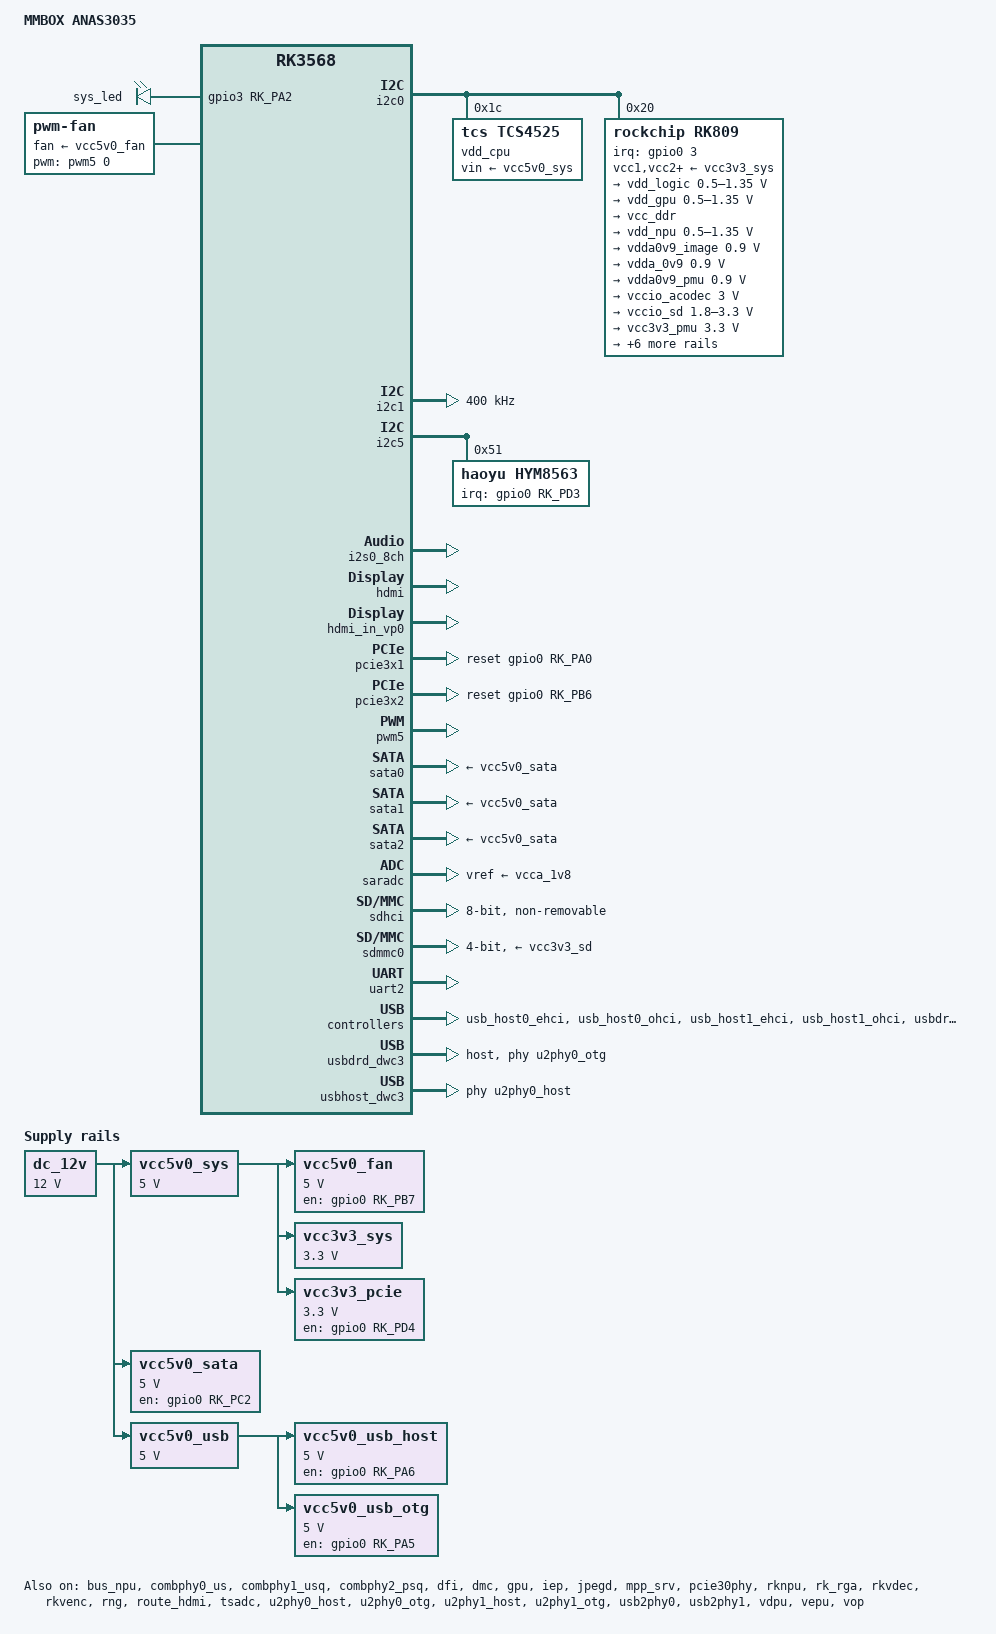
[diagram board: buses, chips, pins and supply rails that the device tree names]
// SPDX-License-Identifier: GPL-2.0-or-later OR MIT

/dts-v1/;
#include <dt-bindings/gpio/gpio.h>
#include <dt-bindings/pwm/pwm.h>
#include <dt-bindings/pinctrl/rockchip.h>
#include <dt-bindings/input/rk-input.h>
#include <dt-bindings/display/drm_mipi_dsi.h>
#include <dt-bindings/display/rockchip_vop.h>
#include <dt-bindings/sensor-dev.h>
#include "rk3568.dtsi"
#define kerneL_legacy_5_10 1

/ {
	model = "MMBOX ANAS3035";
	compatible = "mmbox,anas3035", "rockchip,rk3568";

	aliases {
		mmc0 = &sdhci;
		mmc1 = &sdmmc0;
	};

	chosen: chosen {
		stdout-path = "serial2:1500000n8";
	};

	gpio_leds: gpio-leds {
		compatible = "gpio-leds";

		sys_led: led-0 {
			gpios = <&gpio3 RK_PA2 GPIO_ACTIVE_HIGH>;
			label = "sys_led";
			linux,default-trigger = "heartbeat";
			pinctrl-names = "default";
			pinctrl-0 = <&sys_led_pin>;
		};
	};

	cspmu: cspmu@fd90c000 {
		compatible = "rockchip,cspmu";
		reg = <0x0 0xfd90c000 0x0 0x1000>,
			<0x0 0xfd90d000 0x0 0x1000>,
			<0x0 0xfd90e000 0x0 0x1000>,
			<0x0 0xfd90f000 0x0 0x1000>;
	};

	reserved-memory {
		#address-cells = <2>;
		#size-cells = <2>;
		ranges;

		rknpu_reserved: rknpu {
			compatible = "shared-dma-pool";
			inactive;
			reusable;
			size = <0x0 0x20000000>;
			alignment = <0x0 0x1000>;
		};
	};

	dc_12v: dc-12v {
		compatible = "regulator-fixed";
		#regulator-cells = <0>;
		regulator-name = "dc_12v";
		regulator-always-on;
		regulator-boot-on;
		regulator-min-microvolt = <12000000>;
		regulator-max-microvolt = <12000000>;
	};

	vcc5v0_sys: vcc5v0-sys {
		compatible = "regulator-fixed";
		#regulator-cells = <0>;
		regulator-name = "vcc5v0_sys";
		regulator-always-on;
		regulator-boot-on;
		regulator-min-microvolt = <5000000>;
		regulator-max-microvolt = <5000000>;
		vin-supply = <&dc_12v>;
	};

	vcc5v0_sata: vcc5v0-sata {
		compatible = "regulator-fixed";
		#regulator-cells = <0>;
		enable-active-high;
		gpio = <&gpio0 RK_PC2 GPIO_ACTIVE_HIGH>;
		pinctrl-names = "default";
		pinctrl-0 = <&sata_pwr_en>;
		regulator-name = "vcc5v0_sata";
		regulator-min-microvolt = <5000000>;
		regulator-max-microvolt = <5000000>;
		vin-supply = <&dc_12v>;
	};

	vcc5v0_usb: vcc5v0-usb {
		compatible = "regulator-fixed";
		#regulator-cells = <0>;
		regulator-name = "vcc5v0_usb";
		regulator-always-on;
		regulator-boot-on;
		regulator-min-microvolt = <5000000>;
		regulator-max-microvolt = <5000000>;
		vin-supply = <&dc_12v>;
	};

	vcc5v0_usb_host: vcc5v0-usb-host {
		compatible = "regulator-fixed";
		#regulator-cells = <0>;
		enable-active-high;
		gpio = <&gpio0 RK_PA6 GPIO_ACTIVE_HIGH>;
		pinctrl-names = "default";
		pinctrl-0 = <&vcc5v0_usb_host_en>;
		regulator-name = "vcc5v0_usb_host";
		regulator-always-on;
		regulator-boot-on;
		regulator-min-microvolt = <5000000>;
		regulator-max-microvolt = <5000000>;
		vin-supply = <&vcc5v0_usb>;
	};

	vcc5v0_usb_otg: vcc5v0-usb-otg {
		compatible = "regulator-fixed";
		#regulator-cells = <0>;
		enable-active-high;
		gpio = <&gpio0 RK_PA5 GPIO_ACTIVE_HIGH>;
		pinctrl-names = "default";
		pinctrl-0 = <&vcc5v0_usb_otg_en>;
		regulator-name = "vcc5v0_usb_otg";
		regulator-min-microvolt = <5000000>;
		regulator-max-microvolt = <5000000>;
		vin-supply = <&vcc5v0_usb>;
	};

	vcc5v0_fan: vcc5v0-fan {
		compatible = "regulator-fixed";
		#regulator-cells = <0>;
		enable-active-high;
		gpio = <&gpio0 RK_PB7 GPIO_ACTIVE_HIGH>;
		pinctrl-names = "default";
		pinctrl-0 = <&fan_pwr_en>;
		regulator-name = "vcc5v0_fan";
		regulator-min-microvolt = <5000000>;
		regulator-max-microvolt = <5000000>;
		vin-supply = <&vcc5v0_sys>;
	};

	vcc3v3_sys: vcc3v3-sys {
		compatible = "regulator-fixed";
		#regulator-cells = <0>;
		regulator-name = "vcc3v3_sys";
		regulator-always-on;
		regulator-boot-on;
		regulator-min-microvolt = <3300000>;
		regulator-max-microvolt = <3300000>;
		vin-supply = <&vcc5v0_sys>;
	};

	vcc3v3_pcie: vcc3v3-pcie {
		compatible = "regulator-fixed";
		#regulator-cells = <0>;
		enable-active-high;
		gpios = <&gpio0 RK_PD4 GPIO_ACTIVE_HIGH>;
		pinctrl-names = "default";
		pinctrl-0 = <&pcie_pwr_en>;
		regulator-name = "vcc3v3_pcie";
		regulator-always-on;
		regulator-boot-on;
		regulator-min-microvolt = <3300000>;
		regulator-max-microvolt = <3300000>;
		vin-supply = <&vcc5v0_sys>;
	};

	fan: pwm-fan {
		compatible = "pwm-fan";
		#cooling-cells = <2>;
		cooling-levels = <0 50 100 195 255>;
		fan-supply = <&vcc5v0_fan>;
		pwms = <&pwm5 0 50000 0>;
	};

#if kerneL_legacy_5_10
	hdmi_sound: hdmi-sound {
		compatible = "simple-audio-card";
		simple-audio-card,name = "HDMI";
		simple-audio-card,format = "i2s";
		simple-audio-card,mclk-fs = <256>;
		status = "disabled";

		simple-audio-card,codec {
			sound-dai = <&hdmi>;
		};

		simple-audio-card,cpu {
			sound-dai = <&i2s0_8ch>;
		};
	};
#endif

};


&i2c0 {
	status = "okay";

	vdd_cpu: tcs4525@1c {
		compatible = "tcs,tcs4525";
		reg = <0x1c>;
		regulator-compatible = "fan53555-reg";
		fcs,suspend-voltage-selector = <1>;
		regulator-name = "vdd_cpu";
		regulator-always-on;
		regulator-boot-on;
		regulator-initial-mode = <1>;
		regulator-init-microvolt = <900000>;
		regulator-min-microvolt = <800000>;
		regulator-max-microvolt = <1150000>;
		regulator-ramp-delay = <2300>;
		vin-supply = <&vcc5v0_sys>;

		regulator-state-mem {
			regulator-off-in-suspend;
		};
	};

	rk809: pmic@20 {
		compatible = "rockchip,rk809";
		reg = <0x20>;
		interrupt-parent = <&gpio0>;
		interrupts = <3 IRQ_TYPE_LEVEL_LOW>;

		pinctrl-names = "default", "pmic-sleep",
				"pmic-power-off", "pmic-reset";
		pinctrl-0 = <&pmic_int>;
		pinctrl-1 = <&soc_slppin_slp>, <&rk817_slppin_slp>;
		pinctrl-2 = <&soc_slppin_gpio>, <&rk817_slppin_pwrdn>;
		pinctrl-3 = <&soc_slppin_gpio>, <&rk817_slppin_rst>;

		rockchip,system-power-controller;
		wakeup-source;
		#clock-cells = <1>;
		clock-output-names = "rk808-clkout1", "rk808-clkout2";
		//fb-inner-reg-idxs = <2>;
		/* 1: rst regs (default in codes), 0: rst the pmic */
		pmic-reset-func = <0>;
		/* not save the PMIC_POWER_EN register in uboot */
		not-save-power-en = <1>;

		vcc1-supply = <&vcc3v3_sys>;
		vcc2-supply = <&vcc3v3_sys>;
		vcc3-supply = <&vcc3v3_sys>;
		vcc4-supply = <&vcc3v3_sys>;
		vcc5-supply = <&vcc3v3_sys>;
		vcc6-supply = <&vcc3v3_sys>;
		vcc7-supply = <&vcc3v3_sys>;
		vcc8-supply = <&vcc3v3_sys>;
		vcc9-supply = <&vcc3v3_sys>;

		pwrkey {
			status = "okay";
		};

		pinctrl_rk8xx: pinctrl_rk8xx {
			gpio-controller;
			#gpio-cells = <2>;

			rk817_slppin_null: rk817_slppin_null {
				pins = "gpio_slp";
				function = "pin_fun0";
			};

			rk817_slppin_slp: rk817_slppin_slp {
				pins = "gpio_slp";
				function = "pin_fun1";
			};

			rk817_slppin_pwrdn: rk817_slppin_pwrdn {
				pins = "gpio_slp";
				function = "pin_fun2";
			};

			rk817_slppin_rst: rk817_slppin_rst {
				pins = "gpio_slp";
				function = "pin_fun3";
			};
		};

		regulators {
			vdd_logic: DCDC_REG1 {
				regulator-always-on;
				regulator-boot-on;
				regulator-min-microvolt = <500000>;
				regulator-max-microvolt = <1350000>;
				regulator-init-microvolt = <900000>;
				regulator-ramp-delay = <6001>;
				regulator-initial-mode = <0x2>;
				regulator-name = "vdd_logic";
				regulator-state-mem {
					regulator-off-in-suspend;
				};
			};

			vdd_gpu: DCDC_REG2 {
				regulator-always-on;
				regulator-boot-on;
				regulator-min-microvolt = <500000>;
				regulator-max-microvolt = <1350000>;
				regulator-init-microvolt = <900000>;
				regulator-ramp-delay = <6001>;
				regulator-initial-mode = <0x2>;
				regulator-name = "vdd_gpu";
				regulator-state-mem {
					regulator-off-in-suspend;
				};
			};

			vcc_ddr: DCDC_REG3 {
				regulator-always-on;
				regulator-boot-on;
				regulator-initial-mode = <0x2>;
				regulator-name = "vcc_ddr";
				regulator-state-mem {
					regulator-on-in-suspend;
				};
			};

			vdd_npu: DCDC_REG4 {
				regulator-always-on;
				regulator-boot-on;
				regulator-min-microvolt = <500000>;
				regulator-max-microvolt = <1350000>;
				regulator-init-microvolt = <900000>;
				regulator-ramp-delay = <6001>;
				regulator-initial-mode = <0x2>;
				regulator-name = "vdd_npu";
				regulator-state-mem {
					regulator-off-in-suspend;
				};
			};

			vdda0v9_image: LDO_REG1 {
				regulator-boot-on;
				regulator-always-on;
				regulator-min-microvolt = <900000>;
				regulator-max-microvolt = <900000>;
				regulator-name = "vdda0v9_image";
				regulator-state-mem {
					regulator-off-in-suspend;
				};
			};

			vdda_0v9: LDO_REG2 {
				regulator-always-on;
				regulator-boot-on;
				regulator-min-microvolt = <900000>;
				regulator-max-microvolt = <900000>;
				regulator-name = "vdda_0v9";
				regulator-state-mem {
					regulator-off-in-suspend;
				};
			};

			vdda0v9_pmu: LDO_REG3 {
				regulator-always-on;
				regulator-boot-on;
				regulator-min-microvolt = <900000>;
				regulator-max-microvolt = <900000>;
				regulator-name = "vdda0v9_pmu";
				regulator-state-mem {
					regulator-on-in-suspend;
					regulator-suspend-microvolt = <900000>;
				};
			};

			vccio_acodec: LDO_REG4 {
				regulator-always-on;
				regulator-boot-on;
				regulator-min-microvolt = <3000000>;
				regulator-max-microvolt = <3000000>;
				regulator-name = "vccio_acodec";
				regulator-state-mem {
					regulator-off-in-suspend;
				};
			};

			vccio_sd: LDO_REG5 {
				regulator-always-on;
				regulator-boot-on;
				regulator-min-microvolt = <1800000>;
				regulator-max-microvolt = <3300000>;
				regulator-name = "vccio_sd";
				regulator-state-mem {
					regulator-off-in-suspend;
				};
			};

			vcc3v3_pmu: LDO_REG6 {
				regulator-always-on;
				regulator-boot-on;
				regulator-min-microvolt = <3300000>;
				regulator-max-microvolt = <3300000>;
				regulator-name = "vcc3v3_pmu";
				regulator-state-mem {
					regulator-on-in-suspend;
					regulator-suspend-microvolt = <3300000>;
				};
			};

			vcca_1v8: LDO_REG7 {
				regulator-always-on;
				regulator-boot-on;
				regulator-min-microvolt = <1800000>;
				regulator-max-microvolt = <1800000>;
				regulator-name = "vcca_1v8";
				regulator-state-mem {
					regulator-off-in-suspend;
				};
			};

			vcca1v8_pmu: LDO_REG8 {
				regulator-always-on;
				regulator-boot-on;
				regulator-min-microvolt = <1800000>;
				regulator-max-microvolt = <1800000>;
				regulator-name = "vcca1v8_pmu";
				regulator-state-mem {
					regulator-on-in-suspend;
					regulator-suspend-microvolt = <1800000>;
				};
			};

			vcca1v8_image: LDO_REG9 {
				regulator-always-on;
				regulator-boot-on;
				regulator-min-microvolt = <1800000>;
				regulator-max-microvolt = <1800000>;
				regulator-name = "vcca1v8_image";
				regulator-state-mem {
					regulator-off-in-suspend;
				};
			};

			vcc_1v8: DCDC_REG5 {
				regulator-always-on;
				regulator-boot-on;
				regulator-min-microvolt = <1800000>;
				regulator-max-microvolt = <1800000>;
				regulator-name = "vcc_1v8";
				regulator-state-mem {
					regulator-off-in-suspend;
				};
			};

			vcc_3v3: SWITCH_REG1 {
				regulator-always-on;
				regulator-boot-on;
				regulator-name = "vcc_3v3";
				regulator-state-mem {
					regulator-off-in-suspend;
				};
			};

			vcc3v3_sd: SWITCH_REG2 {
				regulator-always-on;
				regulator-boot-on;
				regulator-name = "vcc3v3_sd";
				regulator-state-mem {
					regulator-off-in-suspend;
				};
			};
		};
	};
};

&i2c1 {
	status = "okay";
	pinctrl-names = "default";
	pinctrl-0 = <&i2c1_xfer>;
	clock-frequency = <400000>;
};

&i2c5 {
	status = "okay";

	hym8563: rtc@51 {
		compatible = "haoyu,hym8563";
		reg = <0x51>;
		#clock-cells = <0>;
		interrupt-parent = <&gpio0>;
		interrupts = <RK_PD3 IRQ_TYPE_LEVEL_LOW>;
		pinctrl-names = "default";
		pinctrl-0 = <&hym8563_int>;
		wakeup-source;
	};
};

&i2s0_8ch {
	status = "okay";
};

&pmu_io_domains {
	pmuio1-supply = <&vcc3v3_pmu>;
	pmuio2-supply = <&vcc3v3_pmu>;
	vccio1-supply = <&vccio_acodec>;
	vccio3-supply = <&vccio_sd>;
	vccio4-supply = <&vcc_1v8>;
	vccio5-supply = <&vcc_3v3>;
	vccio6-supply = <&vcc_1v8>;
	vccio7-supply = <&vcc_3v3>;
	status = "okay";
};

&bus_npu {
	status = "okay";
	bus-supply = <&vdd_logic>;
	pvtm-supply = <&vdd_cpu>;
};

&combphy0_us {
	status = "okay";
};

&combphy1_usq {
	status = "okay";
};

&combphy2_psq {
	status = "okay";
};

&cpu0 {
	cpu-supply = <&vdd_cpu>;
};

&dfi {
	status = "okay";
};

&dmc {
	center-supply = <&vdd_logic>;
	status = "okay";
};

&soc_thermal {
	trips {
		cpu_trip_active_cool: cpu-trip-active-cool {
			temperature = <30000>;
			hysteresis = <2000>;
			type = "active";
		};

		cpu_trip_active_low: cpu-trip-active-low {
			temperature = <40000>;
			hysteresis = <2000>;
			type = "active";
		};

		cpu_trip_active_med: cpu-trip-active-med {
			temperature = <50000>;
			hysteresis = <2000>;
			type = "active";
		};
	
		cpu_trip_active_high: cpu-trip-active-high {
			temperature = <60000>;
			hysteresis = <2000>;
			type = "active";
		};
	
		cpu_trip_active_hot: cpu-trip-active-hot {
			temperature = <70000>;
			hysteresis = <2000>;
			type = "hot";
		};
	};

	cooling-maps {
		cpu-active-cool {
			trip = <&cpu_trip_active_cool>;
			cooling-device = <&fan THERMAL_NO_LIMIT 1>;
		};
	
		cpu-active-low {
			trip = <&cpu_trip_active_low>;
			cooling-device = <&fan 1 2>;
		};
	
		cpu-active-med {
			trip = <&cpu_trip_active_med>;
			cooling-device = <&fan 2 3>;
		};
	
		cpu-active-high {
			trip = <&cpu_trip_active_high>;
			cooling-device = <&fan 3 4>;
		};
	
		cpu-active-hot {
			trip = <&cpu_trip_active_hot>;
			cooling-device = <&fan 4 THERMAL_NO_LIMIT>;
		};
	};

};

&dsi0 {
	status = "disabled";
};

&dsi1 {
	status = "disabled";
};

&gpu {
	clock-names = "gpu", "bus";
	interrupt-names = "gpu", "mmu", "job";
	mali-supply = <&vdd_gpu>;
	status = "okay";
};

&hdmi {
	status = "okay";
	rockchip,phy-table =
		<92812500  0x8009 0x0000 0x0270>,
		<165000000 0x800b 0x0000 0x026d>,
		<185625000 0x800b 0x0000 0x01ed>,
		<297000000 0x800b 0x0000 0x01ad>,
		<594000000 0x8029 0x0000 0x0088>,
		<000000000 0x0000 0x0000 0x0000>;
};

&hdmi_in_vp0 {
	status = "okay";
};

&hdmi_sound {
	status = "okay";
};

&iep {
	status = "okay";
};

&iep_mmu {
	status = "okay";
};

&jpegd {
	status = "okay";
};

&jpegd_mmu {
	status = "okay";
};

&mpp_srv {
	status = "okay";
};

&pcie30phy {
	status = "okay";
};

&pcie3x1 {
	num-viewport = <4>;
	rockchip,bifurcation;
	rockchip,init-delay-ms = <200>;
	reset-gpios = <&gpio0 RK_PA0 GPIO_ACTIVE_HIGH>;
	status = "okay";
};

&pcie3x2 {
	num-viewport = <4>;
	rockchip,bifurcation;
	reset-gpios = <&gpio0 RK_PB6 GPIO_ACTIVE_HIGH>;
	status = "okay";
};

&pinctrl {
	pmic {
		pmic_int: pmic_int {
			rockchip,pins = <0 RK_PA3 RK_FUNC_GPIO &pcfg_pull_up>;
		};

		soc_slppin_gpio: soc_slppin_gpio {
			rockchip,pins = <0 RK_PA2 RK_FUNC_GPIO &pcfg_output_low>;
		};

		soc_slppin_slp: soc_slppin_slp {
			rockchip,pins = <0 RK_PA2 1 &pcfg_pull_up>;
		};

		soc_slppin_rst: soc_slppin_rst {
			rockchip,pins = <0 RK_PA2 2 &pcfg_pull_none>;
		};
	};

	fan {
		fan_pwr_en: fan-pwr-en {
			rockchip,pins = <0 RK_PB7 RK_FUNC_GPIO &pcfg_pull_down>;
		};
	};

	gpio-leds {
		sys_led_pin: sys-led-pin {
			rockchip,pins = <3 RK_PA2 RK_FUNC_GPIO &pcfg_pull_none>;
		};
	};

	hym8563 {
		hym8563_int: hym8563-int {
			rockchip,pins = <0 RK_PD3 RK_FUNC_GPIO &pcfg_pull_up>;
		};
	};

	pcie {
		pcie_pwr_en: pcie-pwr-en {
			rockchip,pins = <0 RK_PD4 RK_FUNC_GPIO &pcfg_pull_down>;
		};
	};

	rockchip-key {
		reset_button_pin: reset-button-pin {
			rockchip,pins = <0 RK_PA1 RK_FUNC_GPIO &pcfg_pull_none>;
		};
	};

	sata {
		sata_pwr_en: sata-pwr-en {
			rockchip,pins = <0 RK_PC2 RK_FUNC_GPIO &pcfg_pull_down>;
		};
	};

	usb {
		vcc5v0_usb_host_en: vcc5v0-usb-host-en {
			rockchip,pins = <0 RK_PA6 RK_FUNC_GPIO &pcfg_pull_none>;
		};

		vcc5v0_usb_otg_en: vcc5v0-usb-otg-en {
			rockchip,pins = <0 RK_PA5 RK_FUNC_GPIO &pcfg_pull_none>;
		};
	};
};

&pwm5 {
	status = "okay";
};

&sata0 {
	phy-supply = <&vcc5v0_sata>;
	status = "okay";
};

&sata1 {
	phy-supply = <&vcc5v0_sata>;
	status = "okay";
};

&sata2 {
	phy-supply = <&vcc5v0_sata>;
	status = "okay";
};

&reserved_memory {
	ramoops: ramoops@110000 {
		compatible = "ramoops";
		reg = <0x0 0x110000 0x0 0xf0000>;
		record-size = <0x20000>;
		console-size = <0x80000>;
		ftrace-size = <0x00000>;
		pmsg-size = <0x50000>;
	};
};

&rknpu {
	memory-region = <&rknpu_reserved>;
	rknpu-supply = <&vdd_npu>;
	status = "okay";
};

&rknpu_mmu {
	status = "okay";
};

&rk_rga {
	status = "okay";
};

&rkvdec {
	status = "okay";
};

&rkvdec_mmu {
	status = "okay";
};

&rkvenc {
	venc-supply = <&vdd_logic>;
	status = "okay";
};

&rkvenc_mmu {
	status = "okay";
};

&rng {
	status = "okay";
};

&rockchip_suspend {
	status = "okay";
};

&route_hdmi {
	status = "okay";
	connect = <&vp0_out_hdmi>;
};

&saradc {
	status = "okay";
	vref-supply = <&vcca_1v8>;
};

&sdhci {
	bus-width = <8>;
	max-frequency = <200000000>;
	mmc-hs200_1_8v;
	non-removable;
	pinctrl-names = "default";
	pinctrl-0 = <&emmc_bus8 &emmc_clk &emmc_cmd &emmc_datastrobe>;
	status = "okay";
};

&sdmmc0 {
	bus-width = <4>;
	cap-mmc-highspeed;
	cap-sd-highspeed;
	disable-wp;
	no-sdio;
	no-mmc;
	pinctrl-names = "default";
	pinctrl-0 = <&sdmmc0_bus4 &sdmmc0_clk &sdmmc0_cmd &sdmmc0_det>;
	sd-uhs-sdr50;
	vmmc-supply = <&vcc3v3_sd>;
	vqmmc-supply = <&vccio_sd>;
	status = "okay";
};

&tsadc {
	rockchip,hw-tshut-mode = <1>;
	rockchip,hw-tshut-polarity = <0>;
	status = "okay";
};

&uart2 {
	status = "okay";
};

&u2phy0_host {
	phy-supply = <&vcc5v0_usb_host>;
	status = "okay";
};

&u2phy0_otg {
	vbus-supply = <&vcc5v0_usb_otg>;
	status = "okay";
};

&u2phy1_host {
	status = "okay";
};

&u2phy1_otg {
	status = "okay";
};

&usb2phy0 {
	status = "okay";
};

&usb2phy1 {
	status = "okay";
};

&usb_host0_ehci {
	status = "okay";
};

&usb_host0_ohci {
	status = "okay";
};

&usb_host1_ehci {
	status = "okay";
};

&usb_host1_ohci {
	status = "okay";
};

&usbdrd30 {
	status = "okay";
};

&usbdrd_dwc3 {
	dr_mode = "host";
	extcon = <&usb2phy0>;
	maximum-speed = "high-speed";
	phys = <&u2phy0_otg>;
	phy-names = "usb2-phy";
	status = "okay";
};

&usbhost30 {
	status = "okay";
};

&usbhost_dwc3 {
	maximum-speed = "high-speed";
	phys = <&u2phy0_host>;
	phy-names = "usb2-phy";
	status = "okay";
};

&vdpu {
	status = "okay";
};

&vdpu_mmu {
	status = "okay";
};

&vepu {
	status = "okay";
};

&vepu_mmu {
	status = "okay";
};

&vop {
	status = "okay";
	vop-supply = <&vcc3v3_sys>;
	assigned-clocks = <&cru DCLK_VOP0>;
	assigned-clock-parents = <&pmucru PLL_HPLL>;
	support-multi-area;
};

&vop_mmu {
	status = "okay";
};

&vp0 {
	rockchip,plane-mask = <(1 << ROCKCHIP_VOP2_CLUSTER0 | 1 << ROCKCHIP_VOP2_ESMART0)>;
	rockchip,primary-plane = <ROCKCHIP_VOP2_ESMART0>;
};

&vp1 {
	status = "disabled";
};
